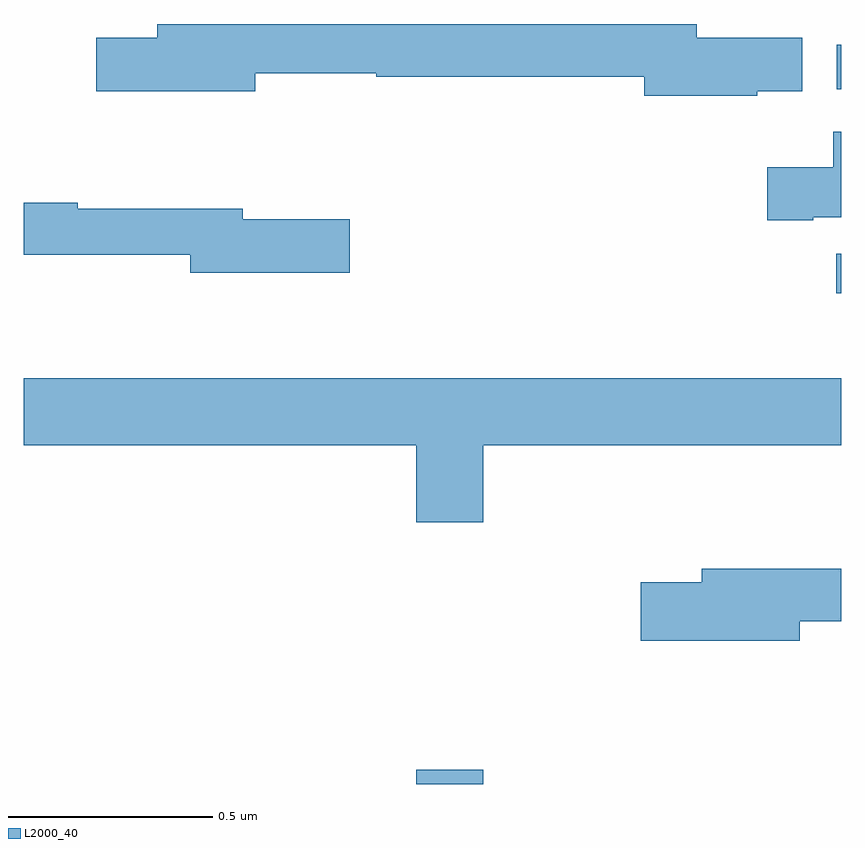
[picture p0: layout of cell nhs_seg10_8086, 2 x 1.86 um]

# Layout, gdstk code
import gdstk
lib = gdstk.Library(unit=1e-6, precision=1e-09)
def R(c, l, rs):  # rectangles x0, y0, x1, y1
    for r in rs: c.add(gdstk.rectangle(r[:2], r[2:], *l))
def P(c, l, *ps):  # polygons
    for p in ps: c.add(gdstk.Polygon(p, *l))
L2000_40 = (2000, 40)

nhs_seg10_8086 = lib.new_cell('nhs_seg10_8086')
R(nhs_seg10_8086, L2000_40, [(212.96,1287.5,213.124,1287.535), (213.987,1288.701,214,1288.797), (213.989,1289.199,214,1289.308)])
P(nhs_seg10_8086, L2000_40, [(213.794,1289.195),(213.904,1289.195),(213.904,1289.325),(213.646,1289.325),(213.646,1289.359),(212.327,1289.359),(212.327,1289.325),(212.178,1289.325),(212.178,1289.195),(212.566,1289.195),(212.566,1289.238),(212.862,1289.238),(212.862,1289.23),(213.518,1289.23),(213.518,1289.183),(213.794,1289.183)],
  [(213.931,1288.886),(214,1288.886),(214,1289.095),(213.98,1289.095),(213.98,1289.008),(213.819,1289.008),(213.819,1288.879),(213.931,1288.879)],
  [(212.797,1288.881),(212.536,1288.881),(212.536,1288.907),(212.132,1288.907),(212.132,1288.922),(212,1288.922),(212,1288.794),(212.408,1288.794),(212.408,1288.751),(212.797,1288.751)],
  [(213.124,1288.328),(214,1288.328),(214,1288.492),(212,1288.492),(212,1288.328),(212.96,1288.328),(212.96,1288.14),(213.124,1288.14)],
  [(213.898,1287.898),(214,1287.898),(214,1288.027),(213.659,1288.027),(213.659,1287.993),(213.51,1287.993),(213.51,1287.851),(213.898,1287.851)])

lib.write_gds('nhs_seg10_8086.gds')
